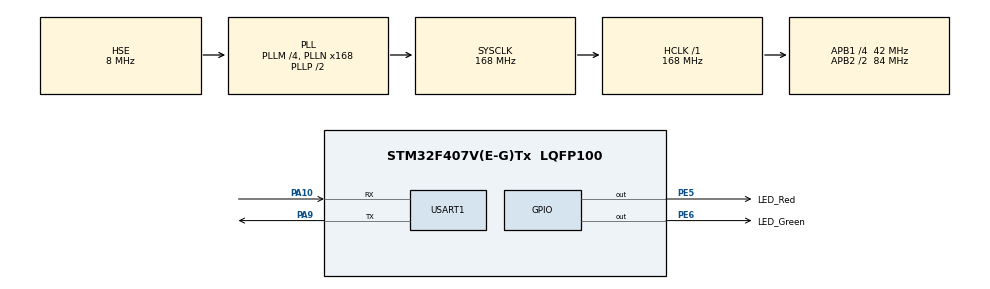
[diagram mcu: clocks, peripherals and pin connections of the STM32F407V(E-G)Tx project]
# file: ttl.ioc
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Mcu.Family=STM32F4
Mcu.Name=STM32F407V(E-G)Tx
Mcu.Package=LQFP100
NVIC.PriorityGroup=NVIC_PRIORITYGROUP_4
PA10.Mode=Asynchronous
PA10.Signal=USART1_RX
PA13.Mode=Serial_Wire
PA13.Signal=SYS_JTMS-SWDIO
PA14.Mode=Serial_Wire
PA14.Signal=SYS_JTCK-SWCLK
PA9.Mode=Asynchronous
PA9.Signal=USART1_TX
PE5.GPIO_Label=LED_Red
PE5.PinState=GPIO_PIN_SET
PE5.Signal=GPIO_Output
PE6.GPIO_Label=LED_Green
PE6.PinState=GPIO_PIN_SET
PE6.Signal=GPIO_Output
PH0-OSC_IN.Mode=HSE-External-Oscillator
PH0-OSC_IN.Signal=RCC_OSC_IN
PH1-OSC_OUT.Mode=HSE-External-Oscillator
PH1-OSC_OUT.Signal=RCC_OSC_OUT
ProjectManager.HeapSize=0x200
ProjectManager.StackSize=0x400
ProjectManager.TargetToolchain=CMake
RCC.48MHZClocksFreq_Value=84000000
RCC.AHBFreq_Value=168000000
RCC.APB1CLKDivider=RCC_HCLK_DIV4
RCC.APB1Freq_Value=42000000
RCC.APB1TimFreq_Value=84000000
RCC.APB2CLKDivider=RCC_HCLK_DIV2
RCC.APB2Freq_Value=84000000
RCC.APB2TimFreq_Value=168000000
RCC.CortexFreq_Value=168000000
RCC.HCLKFreq_Value=168000000
RCC.HSE_VALUE=8000000
RCC.HSI_VALUE=16000000
RCC.LSE_VALUE=32768
RCC.PLLM=4
RCC.PLLN=168
RCC.PLLSourceVirtual=RCC_PLLSOURCE_HSE
RCC.SYSCLKFreq_VALUE=168000000
RCC.SYSCLKSource=RCC_SYSCLKSOURCE_PLLCLK
RCC.VCOOutputFreq_Value=336000000
USART1.VirtualMode=VM_ASYNC
board=custom

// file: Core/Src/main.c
/* USER CODE BEGIN Header */
/**
  ******************************************************************************
  * @file           : main.c
  * @brief          : Main program body
  ******************************************************************************
  * @attention
  *
  * Copyright (c) 2026 STMicroelectronics.
  * All rights reserved.
  *
  * This software is licensed under terms that can be found in the LICENSE file
  * in the root directory of this software component.
  * If no LICENSE file comes with this software, it is provided AS-IS.
  *
  ******************************************************************************
  */
/* USER CODE END Header */
#include "main.h"

UART_HandleTypeDef huart1;

/* USER CODE BEGIN PV */
char message[] = "Hello, World!";
uint8_t receiveData[2];

/* USER CODE END PV */

void SystemClock_Config(void);
static void MX_GPIO_Init(void);
static void MX_USART1_UART_Init(void);

/* USER CODE BEGIN 0 */

void HAL_UART_RxCpltCallback(UART_HandleTypeDef *huart)
{
  if (huart->Instance != USART1)
  {
    return;
  }

  HAL_UART_Transmit_IT(&huart1, receiveData, sizeof(receiveData));

  GPIO_PinState state = GPIO_PIN_SET;
  if (receiveData[1] == '0')
  {
    state = GPIO_PIN_RESET;
  }

  if (receiveData[0] == 'R')
  {
    HAL_GPIO_WritePin(GPIOE, GPIO_PIN_5, state);
  }
  else if (receiveData[0] == 'G')
  {
    HAL_GPIO_WritePin(GPIOE, GPIO_PIN_6, state);
  }

  HAL_UART_Receive_IT(&huart1, receiveData, sizeof(receiveData));
}

/* USER CODE END 0 */

int main(void)
{

  /* MCU Configuration--------------------------------------------------------*/

  /* Reset of all peripherals, Initializes the Flash interface and the Systick. */
  HAL_Init();

  /* Configure the system clock */
  SystemClock_Config();

  /* Initialize all configured peripherals */
  MX_GPIO_Init();
  MX_USART1_UART_Init();
  /* USER CODE BEGIN 2 */

  HAL_UART_Receive_IT(&huart1, receiveData, sizeof(receiveData));

  /* USER CODE END 2 */

  /* Infinite loop */
  while (1)
  {

}
}

void SystemClock_Config(void)
{
  RCC_OscInitTypeDef RCC_OscInitStruct = {0};
  RCC_ClkInitTypeDef RCC_ClkInitStruct = {0};

  /** Configure the main internal regulator output voltage
  */
  __HAL_RCC_PWR_CLK_ENABLE();
  __HAL_PWR_VOLTAGESCALING_CONFIG(PWR_REGULATOR_VOLTAGE_SCALE1);

  /** Initializes the RCC Oscillators according to the specified parameters
  * in the RCC_OscInitTypeDef structure.
  */
  RCC_OscInitStruct.OscillatorType = RCC_OSCILLATORTYPE_HSE;
  RCC_OscInitStruct.HSEState = RCC_HSE_ON;
  RCC_OscInitStruct.PLL.PLLState = RCC_PLL_ON;
  RCC_OscInitStruct.PLL.PLLSource = RCC_PLLSOURCE_HSE;
  RCC_OscInitStruct.PLL.PLLM = 4;
  RCC_OscInitStruct.PLL.PLLN = 168;
  RCC_OscInitStruct.PLL.PLLP = RCC_PLLP_DIV2;
  RCC_OscInitStruct.PLL.PLLQ = 4;
  if (HAL_RCC_OscConfig(&RCC_OscInitStruct) != HAL_OK)
  {
    Error_Handler();
  }

  /** Initializes the CPU, AHB and APB buses clocks
  */
  RCC_ClkInitStruct.ClockType = RCC_CLOCKTYPE_HCLK|RCC_CLOCKTYPE_SYSCLK
                              |RCC_CLOCKTYPE_PCLK1|RCC_CLOCKTYPE_PCLK2;
  RCC_ClkInitStruct.SYSCLKSource = RCC_SYSCLKSOURCE_PLLCLK;
  RCC_ClkInitStruct.AHBCLKDivider = RCC_SYSCLK_DIV1;
  RCC_ClkInitStruct.APB1CLKDivider = RCC_HCLK_DIV4;
  RCC_ClkInitStruct.APB2CLKDivider = RCC_HCLK_DIV2;

  if (HAL_RCC_ClockConfig(&RCC_ClkInitStruct, FLASH_LATENCY_5) != HAL_OK)
  {
    Error_Handler();
  }
}

static void MX_USART1_UART_Init(void)
{

  huart1.Instance = USART1;
  huart1.Init.BaudRate = 115200;
  huart1.Init.WordLength = UART_WORDLENGTH_8B;
  huart1.Init.StopBits = UART_STOPBITS_1;
  huart1.Init.Parity = UART_PARITY_NONE;
  huart1.Init.Mode = UART_MODE_TX_RX;
  huart1.Init.HwFlowCtl = UART_HWCONTROL_NONE;
  huart1.Init.OverSampling = UART_OVERSAMPLING_16;
  if (HAL_UART_Init(&huart1) != HAL_OK)
  {
    Error_Handler();
  }

}

static void MX_GPIO_Init(void)
{
  GPIO_InitTypeDef GPIO_InitStruct = {0};

  /* GPIO Ports Clock Enable */
  __HAL_RCC_GPIOE_CLK_ENABLE();
  __HAL_RCC_GPIOH_CLK_ENABLE();
  __HAL_RCC_GPIOA_CLK_ENABLE();

  /*Configure GPIO pin Output Level */
  HAL_GPIO_WritePin(GPIOE, LED_Red_Pin|LED_Green_Pin, GPIO_PIN_SET);

  /*Configure GPIO pins : LED_Red_Pin LED_Green_Pin */
  GPIO_InitStruct.Pin = LED_Red_Pin|LED_Green_Pin;
  GPIO_InitStruct.Mode = GPIO_MODE_OUTPUT_PP;
  GPIO_InitStruct.Pull = GPIO_NOPULL;
  GPIO_InitStruct.Speed = GPIO_SPEED_FREQ_LOW;
  HAL_GPIO_Init(GPIOE, &GPIO_InitStruct);

}

void Error_Handler(void)
{
  __disable_irq();
  while (1)
  {
  }
}
